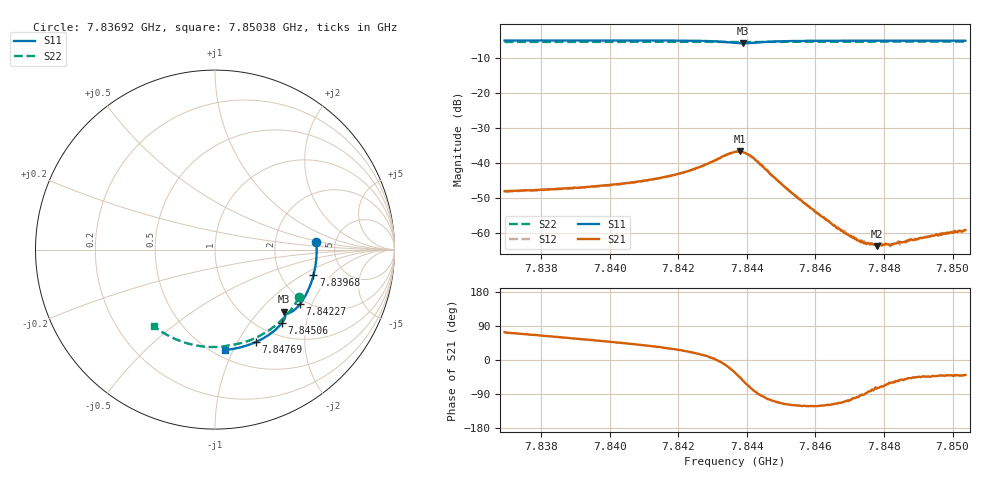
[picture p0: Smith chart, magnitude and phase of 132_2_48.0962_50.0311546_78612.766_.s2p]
#  HZ  S  RI  R  50.00
! Rohde & Schwarz Vector Network Analyzer
! Rohde-Schwarz,ZNB20-2Port,1311601062101988,3.16
! Created: UTC 12/23/2023, 3:47:51 AM
! freq[Hz]  re:S11  im:S11  re:S21  im:S21  re:S12  im:S12  re:S22  im:S22
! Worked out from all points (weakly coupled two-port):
!   401 points, 7.83692 GHz to 7.85038 GHz, reference 50 ohm
!   highest |S21| = -36.71 dB at 7.84378 GHz (marker M1); lowest = -63.8 dB at 7.84779 GHz (marker M2)
!   lowest |S11| = -5.7 dB at 7.84389 GHz (marker M3), VSWR 3.14, Z = 73.4 - j69.3 ohm
!   |S11| at or under -10 dB: nowhere
!   |S22| runs from -5.4 to -5.3 dB; largest |S21 - S12| = 0.00034
!   S11 on the Smith chart (normalised r, x): 7.83692 GHz: 3.55, +0.42; 7.83968 GHz: 3.03, -1.27; 7.84227 GHz: 1.85, -1.64; 7.84506 GHz: 1.25, -1.46; 7.84769 GHz: 0.80, -1.20; 7.85038 GHz: 0.57, -0.93
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7.836924e9  0.5647 0.0405  0.00114 0.00378  0.0012 0.00368  0.4697 -0.2654
7.839177e9  0.5562 -0.1087  0.00255 0.00365  0.00253 0.00362  0.3738 -0.3903
7.839682e9  0.5487 -0.142  0.00295 0.00364  0.00291 0.00357  0.3475 -0.4141
7.840623e9  0.5291 -0.2024  0.00388 0.00356  0.00381 0.00351  0.2947 -0.4537
7.841431e9  0.5058 -0.2532  0.005 0.00342  0.00496 0.00341  0.2457 -0.4822
7.842271e9  0.4734 -0.3039  0.00703 0.00289  0.00701 0.00294  0.1917 -0.506
7.843146e9  0.4232 -0.3489  0.0115 -0.000265  0.0113 -0.000189  0.1326 -0.524
7.84365e9  0.3883 -0.3521  0.012 -0.00792  0.0121 -0.00781  0.0989 -0.53
7.843785e9  0.3842 -0.3483  0.0103 -0.0104  0.0102 -0.0102  0.0905 -0.5313
7.843885e9  0.384 -0.3459  0.00823 -0.0116  0.00834 -0.0115  0.0839 -0.5324
7.84402e9  0.3868 -0.3455  0.00526 -0.0122  0.0053 -0.0121  0.0755 -0.5341
7.844222e9  0.3915 -0.3522  0.00149 -0.0113  0.00155 -0.0112  0.0625 -0.5365
7.845062e9  0.3748 -0.4067  -0.002 -0.00425  -0.002 -0.00429  0.00384 -0.5425
7.845903e9  0.333 -0.4503  -0.00114 -0.00186  -0.00115 -0.00191  -0.0553 -0.5408
7.846576e9  0.2953 -0.4779  -0.000541 -0.00112  -0.000549 -0.00112  -0.1024 -0.5343
7.847215e9  0.2579 -0.4999  -9.89e-05 -0.000771  -9.71e-05 -0.000775  -0.1462 -0.5245
7.84745e9  0.2438 -0.5072  1.37e-05 -0.000724  3.87e-05 -0.000722  -0.162 -0.5199
7.847686e9  0.2294 -0.5139  0.000116 -0.000671  0.000117 -0.000676  -0.1778 -0.5148
7.847786e9  0.2233 -0.5167  0.000161 -0.000621  0.000148 -0.000664  -0.1844 -0.5126
7.848156e9  0.2001 -0.5262  0.000343 -0.000584  0.00032 -0.000592  -0.2088 -0.5035
7.84967e9  0.103 -0.5532  0.0007 -0.000606  0.000751 -0.000646  -0.3025 -0.4543
7.850376e9  0.0566 -0.5596  0.000846 -0.000697  0.00081 -0.000709  -0.3426 -0.4253
